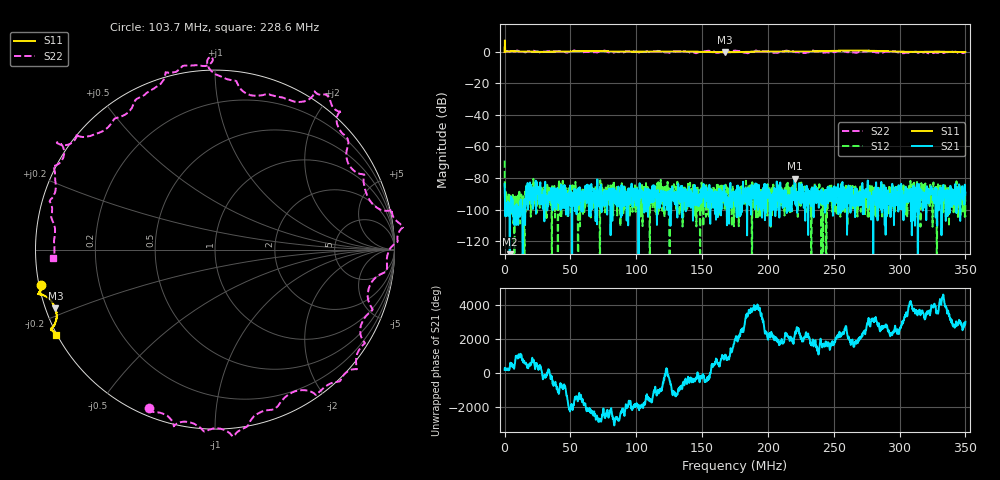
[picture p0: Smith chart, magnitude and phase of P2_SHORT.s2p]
# Hz S RI R 50
! RAW DATA - UNCALIBRATED
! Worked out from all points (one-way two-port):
!   1601 points, 30 kHz to 350 MHz, reference 50 ohm
!   highest |S21| = -80.30 dB at 220.3 MHz (marker M1); lowest = -192.3 dB at 3.967 MHz (marker M2)
!   lowest |S11| = -0.5 dB at 167.6 MHz (marker M3), VSWR 37.29, Z = 1.38 - j8.92 ohm
!   |S11| at or under -10 dB: nowhere
!   |S22| runs from -1.1 to 0.7 dB; largest |S21 - S12| = 0.00035
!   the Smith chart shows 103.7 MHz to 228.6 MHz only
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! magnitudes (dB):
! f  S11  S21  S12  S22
! 30 kHz  -0.3  -83.9  -68.9  0.4
! 1.999 MHz  0.1  -101.3  -96.2  0.4
! 3.967 MHz  0.1  -192.3  -96.2  -0.3
! 58.43 MHz  0.3  -101.2  -94.4  -0.4
! 116.8 MHz  0.0  -98.4  -82.6  0.4
! 124.9 MHz  0.1  -100.5  -86.4  -0.7
! 154.9 MHz  -0.3  -97.6  -103.5  0.5
! 167.6 MHz  -0.5  -92.0  -95.8  -0.4
! 175 MHz  -0.4  -94.1  -94.4  0.5
! 183.8 MHz  -0.2  -90.3  -90.8  -0.9
! 191.9 MHz  0.0  -92.9  -95.2  0.4
! 205.4 MHz  0.1  -89.1  -91.2  -0.7
! 213.7 MHz  0.1  -89.8  -86.0  0.5
! 220.3 MHz  0.1  -80.3  -91.6  -0.3
! 227.3 MHz  0.1  -98.8  -90.6  -0.9
! 233.4 MHz  0.1  -95.9  -93.4  0.4
! 247 MHz  0.3  -90.3  -84.9  -0.9
! 255.1 MHz  0.5  -86.3  -104.4  0.2
! 266 MHz  0.6  -90.3  -96.4  -0.6
! 276.7 MHz  0.5  -93.8  -104.3  0.6
! 291.8 MHz  0.1  -89.7  -103.3  -0.2
! 350 MHz  -0.4  -89.2  -104.6  -0.4
